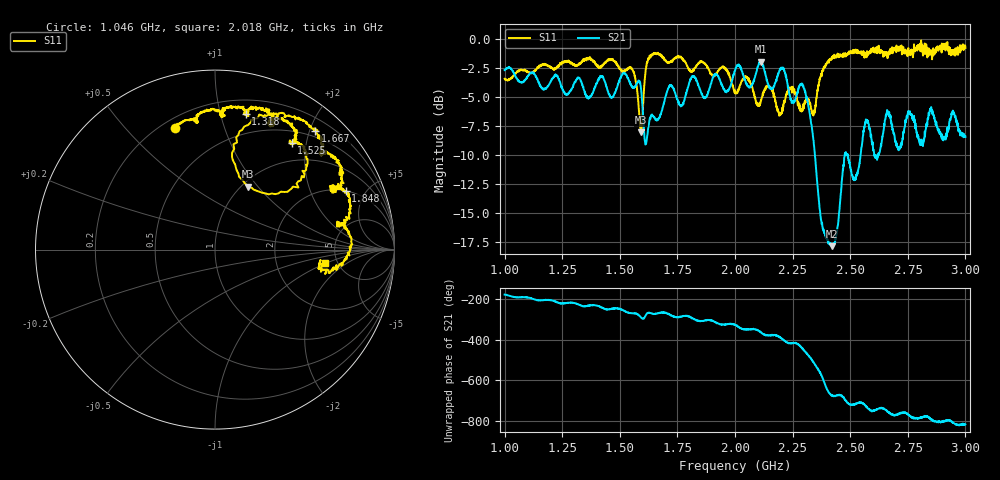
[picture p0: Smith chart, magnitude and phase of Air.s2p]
# HZ S RI R 50
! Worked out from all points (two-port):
!   2020 points, 1 GHz to 3 GHz, reference 50 ohm
!   highest |S21| = -1.93 dB at 2.111 GHz (marker M1); lowest = -17.9 dB at 2.421 GHz (marker M2)
!   |S21| within 3 dB of the highest: start of sweep to 1.355 GHz; 1.877 GHz to 2.239 GHz (362.7 MHz wide, 17.6 % of centre)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
!   lowest |S11| = -8.0 dB at 1.593 GHz (marker M3), VSWR 2.31, Z = 53.6 + j44.6 ohm
!   |S11| at or under -10 dB: nowhere
!   S12 and S22 are empty: the file has one direction only
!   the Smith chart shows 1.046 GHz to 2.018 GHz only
!   S11 on the Smith chart (normalised r, x): 1.046 GHz: 0.25, +0.69; 1.318 GHz: 0.32, +1.20; 1.525 GHz: 0.68, +1.74; 1.667 GHz: 0.40, +2.09; 1.848 GHz: 2.02, +3.61; 2.018 GHz: 4.00, -1.01
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1e9  -0.2356 0.6329  -0.7351 -0.0489  0 0  0 0
1.045566e9  -0.2229 0.6764  -0.6907 0.1084  0 0  0 0
1.317978e9  0.1714 0.7543  -0.4871 0.4708  0 0  0 0
1.333828e9  0.184 0.774  -0.4023 0.5113  0 0  0 0
1.525011e9  0.4272 0.5961  -0.1037 0.6998  0 0  0 0
1.568597e9  0.4988 0.4363  -0.0205 0.628  0 0  0 0
1.593362e9  0.1856 0.3501  0.2123 0.5557  0 0  0 0
1.620107e9  0.2843 0.7442  -0.0166 0.3874  0 0  0 0
1.666665e9  0.5578 0.6592  -0.0198 0.4506  0 0  0 0
1.667656e9  0.5507 0.6642  -0.0244 0.4511  0 0  0 0
1.847943e9  0.7278 0.326  0.3694 0.4822  0 0  0 0
2.000494e9  0.5748 -0.1035  0.6143 0.4086  0 0  0 0
2.018324e9  0.6155 -0.0774  0.7188 0.2827  0 0  0 0
2.11144e9  0.4435 -0.3098  0.8004 -0.0223  0 0  0 0
2.235263e9  -0.0469 -0.6181  0.3298 -0.492  0 0  0 0
2.290736e9  -0.2999 -0.3963  0.0992 -0.6305  0 0  0 0
2.334323e9  -0.4098 -0.264  -0.3097 -0.2756  0 0  0 0
2.368003e9  -0.5598 -0.3684  -0.1751 0.056  0 0  0 0
2.421494e9  -0.8348 0.0102  0.0908 0.0902  0 0  0 0
2.479939e9  -0.7813 0.3739  0.2967 0.1263  0 0  0 0
2.66716e9  -0.2979 0.8181  0.3884 -0.2861  0 0  0 0
2.999999e9  0.413 0.8214  -0.0445 -0.3769  0 0  0 0
